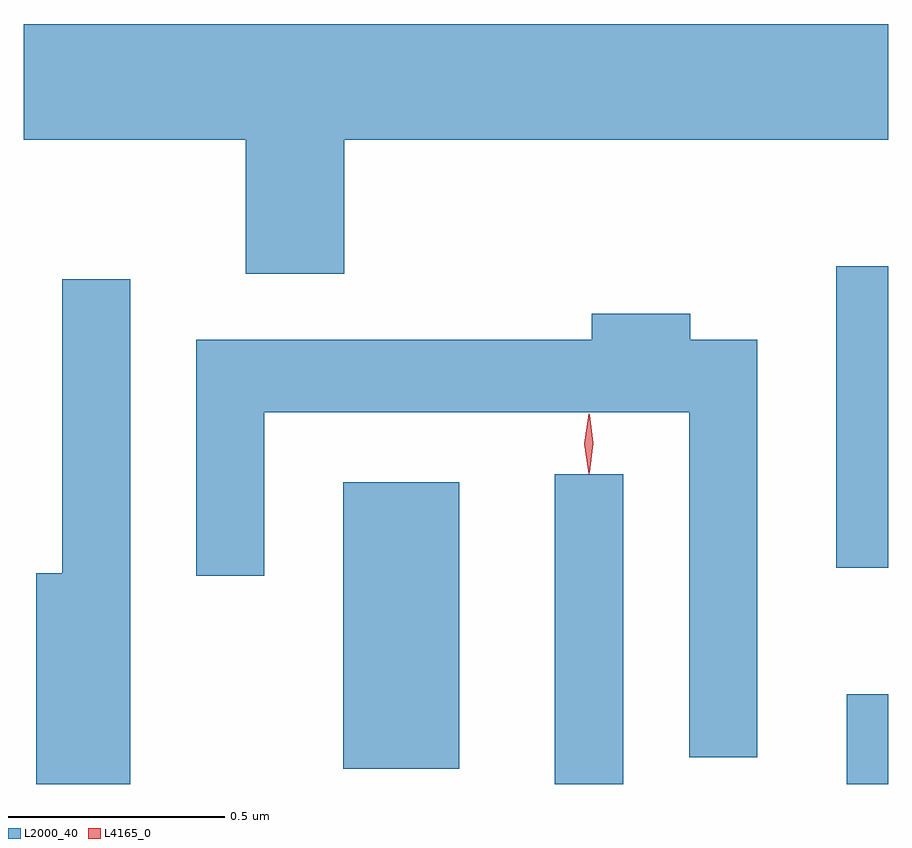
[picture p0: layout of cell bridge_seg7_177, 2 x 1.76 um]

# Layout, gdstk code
import gdstk
lib = gdstk.Library(unit=1e-6, precision=1e-09)
def R(c, l, rs):  # rectangles x0, y0, x1, y1
    for r in rs: c.add(gdstk.rectangle(r[:2], r[2:], *l))
def P(c, l, *ps):  # polygons
    for p in ps: c.add(gdstk.Polygon(p, *l))
L2000_40 = (2000, 40)
L4165_0 = (4165, 0)

bridge_seg7_177 = lib.new_cell('bridge_seg7_177')
R(bridge_seg7_177, L2000_40, [(1501.506,1701.726,1501.664,1702.443), (1502.181,1701.726,1502.277,1701.934), (1501.016,1701.761,1501.284,1702.424), (1502.156,1702.226,1502.277,1702.924)])
P(bridge_seg7_177, L2000_40, [(1501.019,1703.216),(1502.277,1703.216),(1502.277,1703.484),(1500.277,1703.484),(1500.277,1703.216),(1500.791,1703.216),(1500.791,1702.906),(1501.019,1702.906)],
  [(1500.524,1702.893),(1500.366,1702.893),(1500.366,1702.214),(1500.306,1702.214),(1500.306,1701.726),(1500.524,1701.726)],
  [(1501.974,1702.754),(1501.819,1702.754),(1501.819,1702.814),(1501.591,1702.814),(1501.591,1702.754),(1500.676,1702.754),(1500.676,1702.208),(1500.834,1702.208),(1500.834,1702.586),(1501.816,1702.586),(1501.816,1701.788),(1501.974,1701.788)])
P(bridge_seg7_177, L4165_0, [(1501.584,1702.444),(1501.584,1702.444),(1501.574,1702.513),(1501.584,1702.582),(1501.584,1702.583),(1501.585,1702.582),(1501.594,1702.513),(1501.585,1702.444)],
  [(1501.585,1702.447),(1501.585,1702.447),(1501.575,1702.514),(1501.585,1702.58),(1501.586,1702.58),(1501.586,1702.58),(1501.595,1702.514),(1501.586,1702.447)])

lib.write_gds('bridge_seg7_177.gds')
